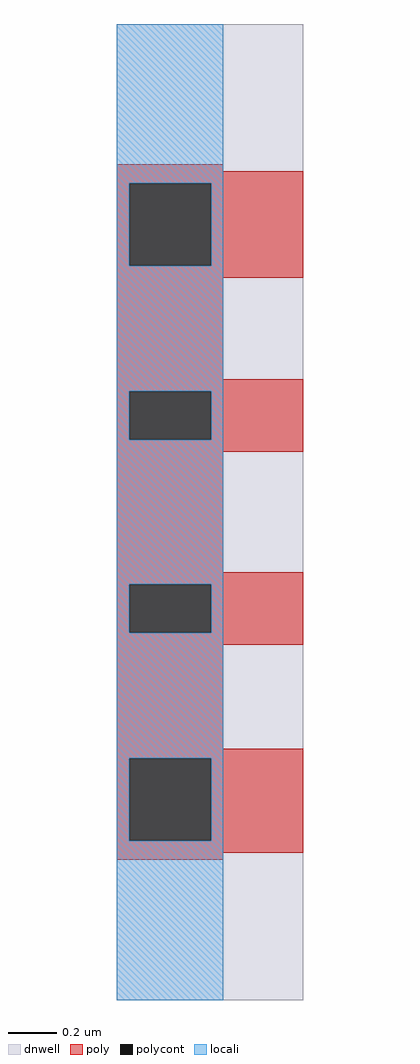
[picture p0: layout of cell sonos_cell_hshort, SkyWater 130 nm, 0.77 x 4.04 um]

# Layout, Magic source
magic
tech sky130A
<< dnwell >>
rect -44 0 33 404
<< poly >>
rect -44 343 0 346
rect -44 338 33 343
rect -44 304 -39 338
rect -5 304 33 338
rect -44 299 33 304
rect -44 257 0 299
rect -44 252 33 257
rect -44 232 -39 252
rect -5 232 33 252
rect -44 227 33 232
rect -44 177 0 227
rect -44 172 33 177
rect -44 152 -39 172
rect -5 152 33 172
rect -44 147 33 152
rect -44 104 0 147
rect -44 100 33 104
rect -44 66 -39 100
rect -5 66 33 100
rect -44 61 33 66
rect -44 58 0 61
<< polycont >>
rect -39 304 -5 338
rect -39 232 -5 252
rect -39 152 -5 172
rect -39 66 -5 100
<< locali >>
rect -44 338 0 404
rect -44 304 -39 338
rect -5 304 0 338
rect -44 252 0 304
rect -44 232 -39 252
rect -5 232 0 252
rect -44 172 0 232
rect -44 152 -39 172
rect -5 152 0 172
rect -44 100 0 152
rect -44 66 -39 100
rect -5 66 0 100
rect -44 0 0 66
<< end >>
